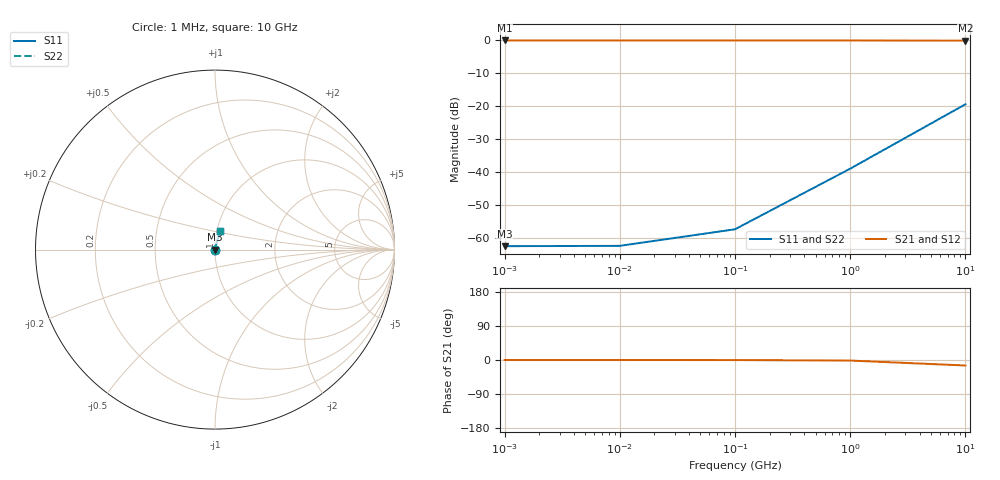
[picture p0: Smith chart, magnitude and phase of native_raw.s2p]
! Sonnet Data File
! From: em Version : 18.53-Lite
! From Project: project
! Data is NOT De-embedded
! Data File Written: 10/12/2026 22:13:44
!< HDATE 10/12/2026 22:13:44
!< MDATE 10/12/2026 22:13:44
# GHZ S RI R 50.00000
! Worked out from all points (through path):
!   5 points, 1 MHz to 10 GHz, reference 50 ohm
!   highest |S21| = -0.01 dB at 1 MHz (marker M1); lowest = -0.1 dB at 10 GHz (marker M2)
!   lowest |S11| = -62.5 dB at 1 MHz (marker M3), VSWR 1.00, Z = 50.1 + j0.00114 ohm
!   |S11| at or under -10 dB: start of sweep to end of sweep
!   |S22| runs from -62.5 to -19.4 dB; largest |S21 - S12| = 1e-12
0.001  0.000751 1.14e-05  0.9992 -2.59e-05  0.9992 -2.59e-05  0.000751 1.14e-05
0.01  0.000751 0.000113  0.9992 -0.000258  0.9992 -0.000258  0.000751 0.000113
0.1  0.000755 0.00113  0.9992 -0.00258  0.9992 -0.00258  0.000755 0.00113
1  0.00115 0.0112  0.9987 -0.0257  0.9987 -0.0257  0.00115 0.0112
10  0.0294 0.1031  0.96 -0.2482  0.96 -0.2482  0.0294 0.1031
